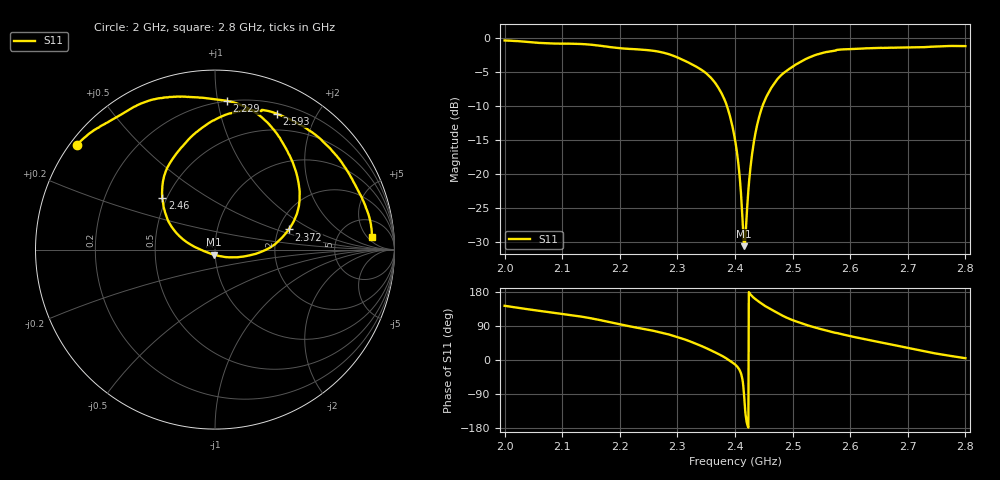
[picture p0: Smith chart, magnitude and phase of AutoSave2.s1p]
!Agilent N9923A: A.05.17
!Date: Sunday, 01 January 2006 12:18:58
!Model: N9923A
!Serial: MY50371189
!CHECKSUM:0451534325
!Correction: S11(ON U)
!S1P File: Measurement: S11:
# Hz S DB R 50
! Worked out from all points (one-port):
!   1001 points, 2 GHz to 2.8 GHz, reference 50 ohm
!   lowest |S11| = -30.7 dB at 2.416 GHz (marker M1), VSWR 1.06, Z = 49.5 - j2.87 ohm
!   |S11| at or under -10 dB: 2.386 GHz to 2.448 GHz (61.62 MHz wide, 2.55 % of centre)
!   S11 on the Smith chart (normalised r, x): 2 GHz: 0.02, +0.33; 2.229 GHz: 0.20, +1.06; 2.372 GHz: 2.28, +0.63; 2.46 GHz: 0.47, +0.33; 2.593 GHz: 0.31, +1.51; 2.8 GHz: 11, +7
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2e9  -0.30 143.0
2.1e9  -0.78 121.7
2.1448e9  -0.90 111.5
2.2e9  -1.44 94.1
2.2288e9  -1.60 85.5
2.268e9  -1.96 73.8
2.3e9  -2.81 60.7
2.3432e9  -4.72 36.0
2.372e9  -7.40 15.3
2.3872e9  -10.29 2.0
2.4e9  -14.93 -11.4
2.4064e9  -18.92 -22.5
2.4136e9  -27.56 -58.1
2.416e9  -30.67 -97.8
2.4192e9  -27.70 -154.3
2.4264e9  -19.40 173.7
2.4344e9  -14.48 162.0
2.4456e9  -10.52 149.5
2.46e9  -7.73 135.6
2.476e9  -5.78 122.4
2.5e9  -4.18 105.2
2.5424e9  -2.37 84.2
2.5928e9  -1.60 65.5
2.6e9  -1.58 63.0
2.6464e9  -1.41 48.3
2.7e9  -1.34 31.9
2.7496e9  -1.19 16.8
2.8e9  -1.14 4.7
